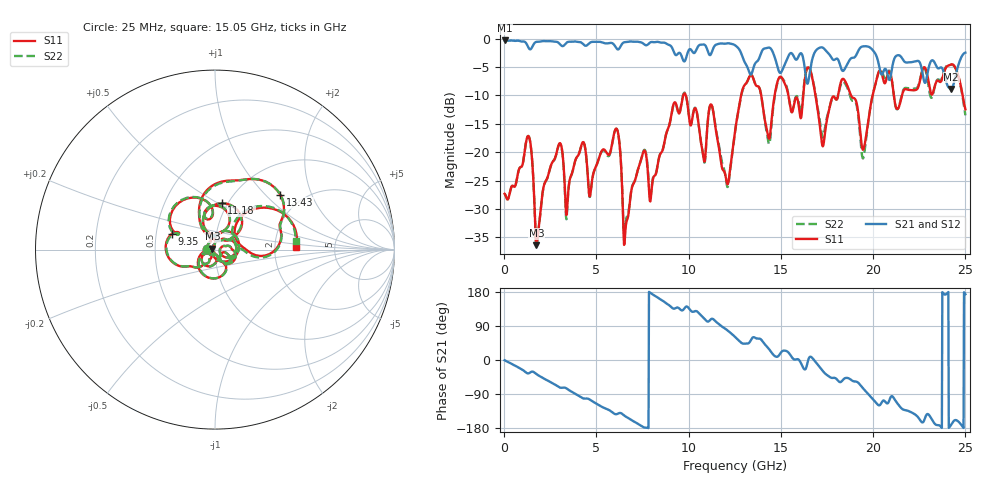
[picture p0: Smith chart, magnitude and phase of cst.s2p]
! R_s4_rect_n1: Finite board 24 × 16 mm, via L1 → L4 through the L2/L3 cavity, one GND via 2 mm away
! stackup: 4-layer 1.6 mm FR-4
! ports: 1 L1, 2 L4
! CST Studio Suite 2025.5 Release from 2025-05-30, time domain (FIT, hexahedral, PBA), 283140 mesh cells, 71 s
! mesh: {'lpw': 20, 'lpb': 20, 'minstep': 0.0, 'ratio': 20}; ports: port 1 (face); port 2 (face)
! interpolated from CST's 1001 samples to the case grid
# Hz S RI R 50
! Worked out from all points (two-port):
!   1000 points, 25 MHz to 25 GHz, reference 50 ohm
!   highest |S21| = -0.33 dB at 25 MHz (marker M1); lowest = -8.9 dB at 24.23 GHz (marker M2)
!   |S21| within 3 dB of the highest: start of sweep to 9.646 GHz; 9.868 GHz to 12.93 GHz (3.063 GHz wide, 26.9 % of centre) (the widest 2 of 9)
!   lowest |S11| = -36.4 dB at 1.75 GHz (marker M3), VSWR 1.03, Z = 48.6 + j0.546 ohm
!   |S11| at or under -10 dB: start of sweep to 9.708 GHz; 9.846 GHz to 12.84 GHz (2.998 GHz wide, 26.4 % of centre); 16.88 GHz to 18.1 GHz (1.224 GHz wide, 7 % of centre) (the widest 3 of 8)
!   |S22| runs from -36.5 to -4.6 dB; largest |S21 - S12| = 0.00046
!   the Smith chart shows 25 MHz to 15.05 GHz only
!   S11 on the Smith chart (normalised r, x): 25 MHz: 0.92, +0.01; 9.35 GHz: 0.60, +0.11; 11.18 GHz: 0.94, +0.52; 13.43 GHz: 1.56, +1.23; 15.05 GHz: 2.65, +0.10
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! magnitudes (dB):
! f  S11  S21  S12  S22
! 25 MHz  -27.3  -0.3  -0.3  -27.3
! 1.325 GHz  -17.2  -1.6  -1.6  -17.2
! 1.75 GHz  -36.4  -0.6  -0.6  -36.5
! 4.2 GHz  -18.6  -0.7  -0.7  -18.7
! 6.1 GHz  -15.9  -1.8  -1.8  -15.9
! 6.575 GHz  -33.6  -0.6  -0.6  -32.7
! 8.35 GHz  -21.7  -0.6  -0.6  -21.7
! 9.35 GHz  -11.8  -2.9  -2.9  -12.0
! 10.82 GHz  -21.4  -1.0  -1.0  -21.5
! 11.18 GHz  -11.7  -2.9  -2.9  -11.7
! 12.07 GHz  -25.4  -0.8  -0.8  -25.9
! 12.53 GHz  -16.1  -1.2  -1.2  -16.1
! 13.43 GHz  -6.5  -6.1  -6.1  -6.5
! 14.32 GHz  -17.4  -1.6  -1.6  -18.3
! 15.05 GHz  -6.9  -5.7  -5.7  -6.9
! 16.68 GHz  -6.6  -4.0  -4.0  -6.5
! 17.25 GHz  -18.8  -1.6  -1.6  -17.3
! 18.4 GHz  -7.1  -5.6  -5.6  -7.6
! 19.45 GHz  -19.6  -1.4  -1.4  -21.1
! 20.85 GHz  -5.8  -7.2  -7.2  -5.6
! 24.23 GHz  -4.5  -8.9  -8.9  -4.6
! 25 GHz  -12.5  -2.5  -2.5  -13.5
